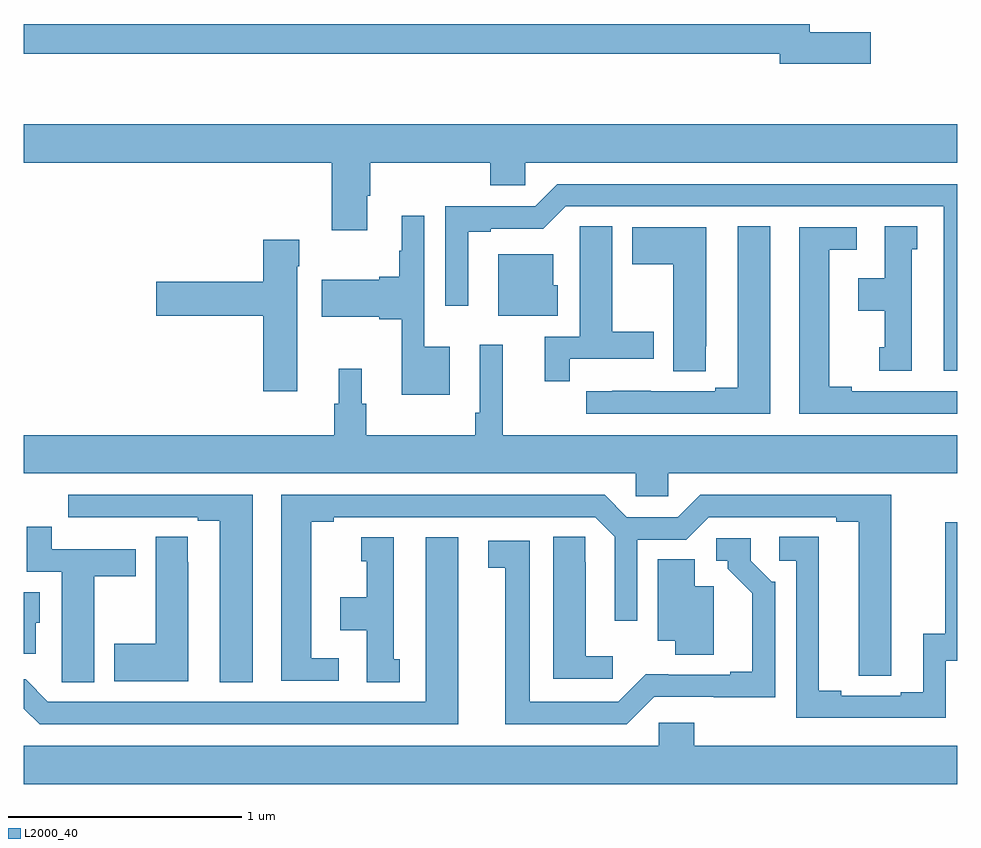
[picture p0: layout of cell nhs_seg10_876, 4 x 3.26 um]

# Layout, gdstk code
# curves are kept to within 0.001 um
import gdstk
lib = gdstk.Library(unit=1e-6, precision=1e-09)
def P(c, l, *ps):  # polygons
    for p in ps: c.add(gdstk.Polygon(p, *l))
L2000_40 = (2000, 40)

nhs_seg10_876 = lib.new_cell('nhs_seg10_876')
P(nhs_seg10_876, L2000_40, [(158.629,1298.21),(158.368,1298.21),(158.368,1298.246),(155,1298.246),(155,1298.118),(158.24,1298.118),(158.24,1298.075),(158.629,1298.075)],
  [(156.472,1297.51),(156.485,1297.51),(156.485,1297.652),(156.998,1297.652),(156.998,1297.554),(157.149,1297.554),(157.149,1297.652),(159,1297.652),(159,1297.816),(155,1297.816),(155,1297.652),(156.32,1297.652),(156.32,1297.362),(156.472,1297.362)],
  [(159,1297.56),(157.287,1297.56),(157.191,1297.464),(156.807,1297.464),(156.807,1297.038),(156.904,1297.038),(156.904,1297.356),(157,1297.356),(157,1297.368),(157.227,1297.368),(157.323,1297.464),(158.942,1297.464),(158.942,1296.759),(159,1296.759)],
  [(156.826,1296.862),(156.717,1296.862),(156.717,1297.423),(156.62,1297.423),(156.62,1297.274),(156.609,1297.274),(156.609,1297.163),(156.524,1297.163),(156.524,1297.15),(156.276,1297.15),(156.276,1296.992),(156.524,1296.992),(156.524,1296.98),(156.62,1296.98),(156.62,1296.656),(156.826,1296.656)],
  [(158.806,1297.281),(158.83,1297.281),(158.83,1297.379),(158.69,1297.379),(158.69,1297.156),(158.576,1297.156),(158.576,1297.016),(158.69,1297.016),(158.69,1296.861),(158.666,1296.861),(158.666,1296.759),(158.806,1296.759)],
  [(158.2,1297.379),(158.06,1297.379),(158.06,1296.687),(157.964,1296.687),(157.964,1296.672),(157.688,1296.672),(157.688,1296.673),(157.522,1296.673),(157.522,1296.672),(157.41,1296.672),(157.41,1296.576),(158.2,1296.576)],
  [(157.34,1296.81),(157.699,1296.81),(157.699,1296.927),(157.522,1296.927),(157.522,1297.379),(157.383,1297.379),(157.383,1297.268),(157.382,1297.268),(157.382,1296.906),(157.232,1296.906),(157.232,1296.714),(157.34,1296.714)],
  [(157.923,1296.865),(157.924,1296.865),(157.924,1297.375),(157.607,1297.375),(157.607,1297.216),(157.784,1297.216),(157.784,1296.757),(157.923,1296.757)],
  [(159,1296.672),(158.548,1296.672),(158.548,1296.692),(158.452,1296.692),(158.452,1297.278),(158.569,1297.278),(158.569,1297.374),(158.324,1297.374),(158.324,1296.576),(159,1296.576)],
  [(156.172,1297.208),(156.18,1297.208),(156.18,1297.321),(156.026,1297.321),(156.026,1297.142),(155.568,1297.142),(155.568,1296.995),(156.026,1296.995),(156.026,1296.672),(156.172,1296.672)],
  [(157.288,1297.125),(157.27,1297.125),(157.27,1297.258),(157.034,1297.258),(157.034,1296.995),(157.288,1296.995)],
  [(157.761,1296.32),(159,1296.32),(159,1296.484),(157.052,1296.484),(157.052,1296.871),(156.954,1296.871),(156.954,1296.58),(156.934,1296.58),(156.934,1296.484),(156.467,1296.484),(156.467,1296.618),(156.448,1296.618),(156.448,1296.769),(156.35,1296.769),(156.35,1296.618),(156.331,1296.618),(156.331,1296.484),(155,1296.484),(155,1296.32),(157.623,1296.32),(157.623,1296.222),(157.761,1296.222)],
  [(156.349,1295.526),(156.232,1295.526),(156.232,1296.112),(156.328,1296.112),(156.328,1296.132),(157.449,1296.132),(157.533,1296.048),(157.533,1295.688),(157.629,1295.688),(157.629,1296.036),(157.839,1296.036),(157.935,1296.132),(158.483,1296.132),(158.483,1296.112),(158.579,1296.112),(158.579,1295.452),(158.718,1295.452),(158.719,1296.228),(157.899,1296.228),(157.803,1296.132),(157.585,1296.132),(157.489,1296.228),(156.104,1296.228),(156.104,1295.43),(156.349,1295.43)],
  [(155.98,1296.228),(155.19,1296.228),(155.19,1296.132),(155.302,1296.132),(155.302,1296.131),(155.468,1296.131),(155.468,1296.132),(155.744,1296.132),(155.744,1296.117),(155.84,1296.117),(155.84,1295.425),(155.98,1295.425)],
  [(158.952,1295.517),(159,1295.517),(159,1296.111),(158.95,1296.111),(158.95,1295.633),(158.855,1295.633),(158.855,1295.382),(158.759,1295.382),(158.759,1295.367),(158.503,1295.367),(158.503,1295.387),(158.407,1295.387),(158.407,1296.047),(158.238,1296.047),(158.238,1295.946),(158.31,1295.946),(158.31,1295.271),(158.952,1295.271)],
  [(155.302,1295.878),(155.479,1295.878),(155.479,1295.994),(155.12,1295.994),(155.12,1296.091),(155.012,1296.091),(155.012,1295.898),(155.162,1295.898),(155.162,1295.536),(155.163,1295.536),(155.163,1295.425),(155.302,1295.425)],
  [(155.704,1295.939),(155.703,1295.939),(155.703,1296.047),(155.564,1296.047),(155.564,1295.589),(155.387,1295.589),(155.387,1295.429),(155.704,1295.429)],
  [(157.525,1295.536),(157.408,1295.536),(157.408,1295.939),(157.407,1295.939),(157.407,1296.047),(157.268,1296.047),(157.268,1295.439),(157.525,1295.439)],
  [(156.862,1296.046),(156.722,1296.046),(156.722,1295.34),(155.103,1295.34),(155.007,1295.436),(155,1295.436),(155,1295.311),(155.067,1295.244),(156.862,1295.244)],
  [(156.61,1295.523),(156.586,1295.523),(156.586,1296.046),(156.446,1296.046),(156.446,1295.943),(156.47,1295.943),(156.47,1295.788),(156.356,1295.788),(156.356,1295.648),(156.47,1295.648),(156.47,1295.425),(156.61,1295.425)],
  [(157.701,1295.361),(158.22,1295.36),(158.22,1295.856),(158.205,1295.856),(158.115,1295.946),(158.115,1296.042),(157.968,1296.042),(157.968,1295.946),(158.018,1295.946),(158.018,1295.911),(158.123,1295.806),(158.123,1295.47),(158.027,1295.47),(158.027,1295.457),(157.666,1295.458),(157.548,1295.34),(157.168,1295.34),(157.168,1296.03),(156.99,1296.03),(156.99,1295.914),(157.064,1295.914),(157.064,1295.244),(157.584,1295.244)],
  [(157.957,1295.836),(157.876,1295.836),(157.876,1295.951),(157.718,1295.951),(157.718,1295.603),(157.793,1295.603),(157.793,1295.542),(157.957,1295.542)],
  [(155.05,1295.679),(155.068,1295.679),(155.068,1295.809),(155,1295.809),(155,1295.546),(155.05,1295.546)],
  [(159,1295.152),(157.874,1295.152),(157.874,1295.25),(157.722,1295.25),(157.722,1295.152),(155,1295.152),(155,1294.988),(159,1294.988)])

lib.write_gds('nhs_seg10_876.gds')
